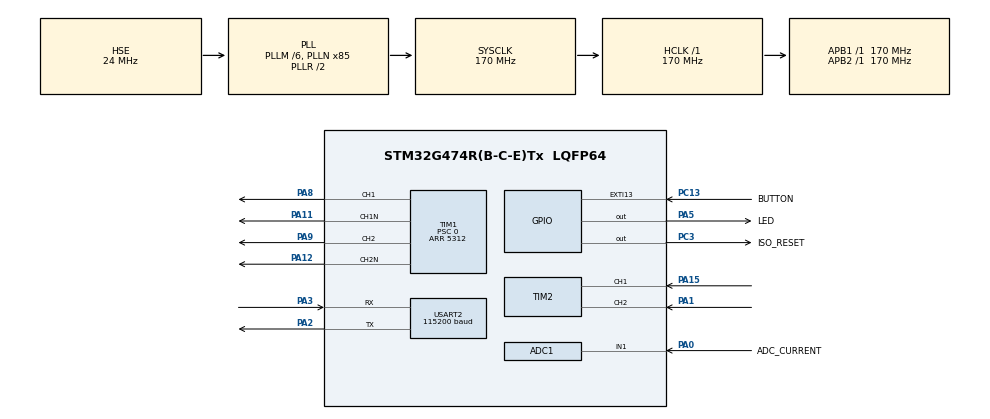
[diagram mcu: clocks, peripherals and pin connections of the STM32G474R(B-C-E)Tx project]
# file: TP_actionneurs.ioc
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ADC1.Channel-0\#ChannelRegularConversion=ADC_CHANNEL_1
ADC1.ClockPrescaler=ADC_CLOCK_SYNC_PCLK_DIV4
ADC1.NbrOfConversionFlag=1
ADC1.OffsetNumber-0\#ChannelRegularConversion=ADC_OFFSET_NONE
ADC1.OversamplingMode=DISABLE
ADC1.Rank-0\#ChannelRegularConversion=1
ADC1.SamplingTime-0\#ChannelRegularConversion=ADC_SAMPLETIME_2CYCLES_5
ADC1.master=1
Mcu.Family=STM32G4
Mcu.Name=STM32G474R(B-C-E)Tx
Mcu.Package=LQFP64
NVIC.EXTI15_10_IRQn=true\:0\:0\:false\:false\:true\:true\:true\:true
NVIC.PriorityGroup=NVIC_PRIORITYGROUP_4
NVIC.TIM2_IRQn=true\:0\:0\:false\:false\:true\:true\:true\:true
NVIC.TIM6_DAC_IRQn=true\:15\:0\:false\:false\:true\:false\:true\:true
NVIC.TimeBase=TIM6_DAC_IRQn
NVIC.TimeBaseIP=TIM6
NVIC.USART2_IRQn=true\:0\:0\:false\:false\:true\:true\:true\:true
PA0.GPIO_Label=ADC_CURRENT
PA0.Mode=IN1-Single-Ended
PA0.Signal=ADC1_IN1
PA1.Signal=S_TIM2_CH2
PA11.Mode=PWM Generation1 CH1 CH1N
PA11.Signal=TIM1_CH1N
PA12.Mode=PWM Generation2 CH2 CH2N
PA12.Signal=TIM1_CH2N
PA13.Mode=Serial_Wire
PA13.Signal=SYS_JTMS-SWDIO
PA14.Mode=Serial_Wire
PA14.Signal=SYS_JTCK-SWCLK
PA15.Signal=S_TIM2_CH1
PA2.Mode=Asynchronous
PA2.Signal=USART2_TX
PA3.Mode=Asynchronous
PA3.Signal=USART2_RX
PA5.GPIO_Label=LED
PA5.Signal=GPIO_Output
PA8.Signal=S_TIM1_CH1
PA9.Signal=S_TIM1_CH2
PC13.GPIO_Label=BUTTON
PC13.Signal=GPXTI13
PC14-OSC32_IN.Mode=LSE-External-Oscillator
PC14-OSC32_IN.Signal=RCC_OSC32_IN
PC15-OSC32_OUT.Mode=LSE-External-Oscillator
PC15-OSC32_OUT.Signal=RCC_OSC32_OUT
PC3.GPIO_Label=ISO_RESET
PC3.Signal=GPIO_Output
PF0-OSC_IN.Mode=HSE-External-Oscillator
PF0-OSC_IN.Signal=RCC_OSC_IN
PF1-OSC_OUT.Mode=HSE-External-Oscillator
PF1-OSC_OUT.Signal=RCC_OSC_OUT
ProjectManager.HeapSize=0x200
ProjectManager.StackSize=0x400
ProjectManager.TargetToolchain=STM32CubeIDE
RCC.ADC12Freq_Value=170000000
RCC.ADC345Freq_Value=170000000
RCC.AHBFreq_Value=170000000
RCC.APB1Freq_Value=170000000
RCC.APB1TimFreq_Value=170000000
RCC.APB2Freq_Value=170000000
RCC.APB2TimFreq_Value=170000000
RCC.CortexFreq_Value=170000000
RCC.EXTERNAL_CLOCK_VALUE=12288000
RCC.HCLKFreq_Value=170000000
RCC.HSE_VALUE=24000000
RCC.HSI48_VALUE=48000000
RCC.HSI_VALUE=16000000
RCC.PLLM=RCC_PLLM_DIV6
RCC.PLLN=85
RCC.PLLSourceVirtual=RCC_PLLSOURCE_HSE
RCC.RTCClockSelection=RCC_RTCCLKSOURCE_LSE
RCC.SYSCLKFreq_VALUE=170000000
RCC.SYSCLKSource=RCC_SYSCLKSOURCE_PLLCLK
RCC.USBFreq_Value=170000000
RCC.VCOOutputFreq_Value=340000000
SH.S_TIM1_CH1.0=TIM1_CH1,PWM Generation1 CH1 CH1N
SH.S_TIM1_CH2.0=TIM1_CH2,PWM Generation2 CH2 CH2N
SH.S_TIM2_CH1.0=TIM2_CH1,Input_Capture1_from_TI1
SH.S_TIM2_CH2.0=TIM2_CH2,Input_Capture2_from_TI2
TIM1.AutoReloadPreload=TIM_AUTORELOAD_PRELOAD_ENABLE
TIM1.Channel-PWM\ Generation1\ CH1\ CH1N=TIM_CHANNEL_1
TIM1.Channel-PWM\ Generation2\ CH2\ CH2N=TIM_CHANNEL_2
TIM1.CounterMode=TIM_COUNTERMODE_CENTERALIGNED1
TIM1.DeadTime=222
TIM1.DeadTimePreload=DISABLE
TIM1.PeriodNoDither=5312
TIM1.Prescaler=0
TIM1.PulseNoDither_1=2656
TIM1.PulseNoDither_2=2656
TIM2.Channel-Input_Capture1_from_TI1=TIM_CHANNEL_1
TIM2.Channel-Input_Capture2_from_TI2=TIM_CHANNEL_2
USART2.BaudRate=115200
USART2.VirtualMode-Asynchronous=VM_ASYNC
VP_SYS_VS_tim6.Mode=TIM6
VP_TIM1_VS_ClockSourceINT.Mode=Internal
VP_TIM2_VS_ClockSourceINT.Mode=Internal
board=NUCLEO-G474RE

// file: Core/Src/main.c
/* USER CODE BEGIN Header */
/**
 ******************************************************************************
 * @file           : main.c
 * @brief          : Main program body
 ******************************************************************************
 * @attention
 *
 * Copyright (c) 2022 STMicroelectronics.
 * All rights reserved.
 *
 * This software is licensed under terms that can be found in the LICENSE file
 * in the root directory of this software component.
 * If no LICENSE file comes with this software, it is provided AS-IS.
 *
 ******************************************************************************
 */
/* USER CODE END Header */
#include "main.h"
#include "adc.h"
#include "tim.h"
#include "usart.h"
#include "gpio.h"

/* USER CODE BEGIN Includes */
#include <string.h>
#include <stdio.h>
#include <stdlib.h>
/* USER CODE END Includes */

/* USER CODE BEGIN PD */
#define UART_TX_BUFFER_SIZE 64				///< Buffer size for transmission used in the shell communication
#define UART_RX_BUFFER_SIZE 1				///< Buffer size for reception used in the shell communication
#define CMD_BUFFER_SIZE 64					///< Buffer size for the shell command line
#define MAX_ARGS 9							///< Maximum number of arguments for a command in the shell script

#define ASCII_CR 0x0D						///< Defines CR, carriage return command in the shell
#define ASCII_DEL 0x7F						///< Defines DEL, delete command in the shell

#define SPEED_MAX 512 						///< Arbitrary number representing out maximum value for the motor speed

#define TIMCLOCK   170000000				///< Definition of bus frequency for clock, useful to calculate time
#define PRESCALAR  1						///< Definition of prescaler clock, useful to calculate time
/* USER CODE END PD */

/* USER CODE BEGIN PV */
const uint8_t prompt[]="user@Nucleo-STM32G431>>";		///< Shell prompt text
const uint8_t started[]=								///< Startup message when shell is initialized
		"\r\n*-----------------------------*"
		"\r\n| Welcome on Nucleo-STM32G431 |"
		"\r\n*-----------------------------*"
		"\r\n";
const uint8_t newLine[]="\r\n";							///< Defines characters used to create a new line
const uint8_t cmdNotFound[]="Command not found\r\n";	///< Shell message for when a user input command is not implemented
const uint8_t help[]=									///< Shell message for when the user types "help"
		"\r\n*-----------------------------*"
		"\r\n| Help Menu |"
		"\r\n*-----------------------------*"
		"\r\n*set PA5 1 : Turns ON the LED*"
		"\r\n*set PA5 0 : Turns OFF the LED*"
		"\r\n*get : Prints the current and the frequency in the motor*"
		"\r\n*pinout : Prints the pinout list*"
		"\r\n*start : Starts the motor*"
		"\r\n*speed x : Sets the speed of the motor to x (-512 < x < 512)*"
		"\r\n";

const uint8_t pinout[]=									///< Shell message that lists the pinout list of the microcontroller
		"\r\n*-----------------------------*"
		"\r\n| Pinout List |"
		"\r\n*-----------------------------*"
		"\r\n*PA0: ADC_CURRENT*"
		"\r\n*PA5: LED*"
		"\r\n*PA8: TIM1_CH1*"
		"\r\n*PA9: TIM1_CH2*"
		"\r\n*PA11: TIM1_CH1N*"
		"\r\n*PA12: TIM1_CH2N*"
		"\r\n*PC3: ISO_RESET*"
		"\r\n";
const uint8_t powerOn[]=								///< Shell message when powering on the motor
		"\r\n*-----------------------------*"
		"\r\n| Motor ON |"
		"\r\n";
const uint8_t powerOff[]=								///< Shell message when powering off the motor
		"\r\n*-----------------------------*"
		"\r\n| Motor OFF |"
		"\r\n";

const char * separators = " =";							///< List of separators used to parse the strings in shell

uint32_t uartRxReceived;								///< Set to 1 when a new character is received on uart 2
uint8_t uartRxBuffer[UART_RX_BUFFER_SIZE];				///< A buffer to store the received data from UART
uint8_t uartTxBuffer[UART_TX_BUFFER_SIZE];				///< A buffer to store the UART data to be transmitted

uint32_t IC_Val1 = 0;									///< First timer value
uint32_t IC_Val2 = 0;									///< Second timer value
uint32_t Difference = 0;								///< Difference of the two timer values, to be able to know the direction of the rotation

int Is_First_Captured = 0;								///< Set to 1 when the first rising edge is captured
int Is_First_Captured_2 = 0;							///< Set to 1 when the first rising edge is captured (version 2)

/* Measure Frequency */
float frequency = 0;									///< Declaration of variable to hold the frequency value

/* USER CODE END PV */

void SystemClock_Config(void);
/* USER CODE BEGIN PFP */
void HAL_TIM_IC_CaptureCallback(TIM_HandleTypeDef *htim);
/* USER CODE END PFP */

int main(void)
{
  /* USER CODE BEGIN 1 */
	char	 	cmd[CMD_BUFFER_SIZE];		///< Initializes a cmd list to store the characters sent via shell
	int 		idxCmd;						///< Initializes an index used to parse through the shell characters
	char* 		argv[MAX_ARGS];				///< Initializes a variable to hold the arguments of a function
	int		 	argc = 0;					///< Initializes a variable to hold the argc value
	char*		token;						///< Initializes a variable to hold the tokens from strtok function
	int 		newCmdReady = 0;			///< Initializes a variable to verify if shell has finished user input
	int		speed = 0;						///< Initializes a variable to hold the speed value
	uint16_t  CCR1 = 5312;					///< Initializes a variable to hold the value in the compare register channel 1
	uint16_t  CCR2 = 5312;					///< Initializes a variable to hold the value in the compare register channel 2

	uint16_t AD_RES = 0;					///< Initializes a variable to hold the value form the ADC conversion for the current

  /* USER CODE END 1 */

  /* MCU Configuration--------------------------------------------------------*/

  /* Reset of all peripherals, Initializes the Flash interface and the Systick. */
  HAL_Init();

  /* Configure the system clock */
  SystemClock_Config();

  /* Initialize all configured peripherals */
  MX_GPIO_Init();
  MX_TIM1_Init();
  MX_USART2_UART_Init();
  MX_ADC1_Init();
  MX_TIM2_Init();
  /* USER CODE BEGIN 2 */
	HAL_TIM_PWM_Start(&htim1, TIM_CHANNEL_1);
	HAL_TIM_PWM_Start(&htim1, TIM_CHANNEL_2);
	HAL_TIMEx_PWMN_Start(&htim1, TIM_CHANNEL_1);
	HAL_TIMEx_PWMN_Start(&htim1, TIM_CHANNEL_2);

	HAL_TIM_IC_Start_IT(&htim2, TIM_CHANNEL_1);
	HAL_TIM_IC_Start_IT(&htim2, TIM_CHANNEL_2);

	memset(argv,NULL,MAX_ARGS*sizeof(char*));
	memset(cmd,NULL,CMD_BUFFER_SIZE*sizeof(char));
	memset(uartRxBuffer,NULL,UART_RX_BUFFER_SIZE*sizeof(char));
	memset(uartTxBuffer,NULL,UART_TX_BUFFER_SIZE*sizeof(char));

	HAL_UART_Receive_IT(&huart2, uartRxBuffer, UART_RX_BUFFER_SIZE);
	HAL_Delay(10);
	HAL_UART_Transmit(&huart2, started, sizeof(started), HAL_MAX_DELAY);
	HAL_UART_Transmit(&huart2, prompt, sizeof(prompt), HAL_MAX_DELAY);
  /* USER CODE END 2 */

  /* Infinite loop */
  /* USER CODE BEGIN WHILE */
	while (1)
	{
		// uartRxReceived is set to 1 when a new character is received on uart 2
		if(uartRxReceived){
			switch(uartRxBuffer[0]){
			// Nouvelle ligne, instruction à traiter
			case ASCII_CR:
				HAL_UART_Transmit(&huart2, newLine, sizeof(newLine), HAL_MAX_DELAY);
				cmd[idxCmd] = '\0';
				argc = 0;
				token = strtok(cmd, separators);
				while(token!=NULL){
					argv[argc++] = token;
					token = strtok(NULL, " ");
				}

				idxCmd = 0;
				newCmdReady = 1;
				break;
				// Suppression du dernier caractère
			case ASCII_DEL:
				cmd[idxCmd--] = '\0';
				HAL_UART_Transmit(&huart2, uartRxBuffer, UART_RX_BUFFER_SIZE, HAL_MAX_DELAY);
				break;
				// Nouveau caractère
			default:
				cmd[idxCmd++] = uartRxBuffer[0];
				HAL_UART_Transmit(&huart2, uartRxBuffer, UART_RX_BUFFER_SIZE, HAL_MAX_DELAY);
			}
			uartRxReceived = 0;
		}

		if(newCmdReady){
			// Traiter l'instruction correspondante
			if(strcmp(argv[0],"set")==0){
				if(strcmp(argv[1],"PA5")==0){
					HAL_GPIO_WritePin(LED_GPIO_Port, LED_Pin, atoi(argv[2]));
					sprintf(uartTxBuffer,"Switch on/off led : %d\r\n",atoi(argv[2]));
					HAL_UART_Transmit(&huart2, uartTxBuffer, 32, HAL_MAX_DELAY);
				}
				else{
					HAL_UART_Transmit(&huart2, cmdNotFound, sizeof(cmdNotFound), HAL_MAX_DELAY);
				}
			}
			else if(strcmp(argv[0],"get")==0)
			{
				// Read The ADC Conversion Result & Map It To PWM DutyCycle
				AD_RES = ((3300*HAL_ADC_GetValue(&hadc1)/4096)-2500)*12;
				sprintf(uartTxBuffer,"ADC = %d | Freq = %d \r\n",AD_RES,(int) frequency);
				HAL_UART_Transmit(&huart2, uartTxBuffer, sizeof(uartTxBuffer), HAL_MAX_DELAY);

			}
			else if(strcmp(argv[0],"help")==0)
			{
				HAL_UART_Transmit(&huart2, help, sizeof(help), HAL_MAX_DELAY);
			}
			else if(strcmp(argv[0],"pinout")==0)
			{
				HAL_UART_Transmit(&huart2, pinout, sizeof(pinout), HAL_MAX_DELAY);
			}
			else if(strcmp(argv[0],"start")==0)
			{
				powerUpSequence();
				HAL_UART_Transmit(&huart2, powerOn, sizeof(powerOn), HAL_MAX_DELAY);
			}
			else if(strcmp(argv[0],"stop")==0)
			{
				HAL_UART_Transmit(&huart2, powerOff, sizeof(powerOff), HAL_MAX_DELAY);
			}
			else if(strcmp(argv[0],"speed")==0){
				speed = atoi(argv[1]);
				if (speed > SPEED_MAX)	speed = SPEED_MAX;
				CCR1=5312*(SPEED_MAX+speed)/(2*SPEED_MAX);
				CCR2=5312-CCR1;
				__HAL_TIM_SET_COMPARE(&htim1,TIM_CHANNEL_1,CCR1);
				__HAL_TIM_SET_COMPARE(&htim1,TIM_CHANNEL_2,CCR2);
				sprintf(uartTxBuffer,"Speed set to : %d | CCR1 = %d | CCR2= %d \r\n",speed,CCR1,CCR2);
				HAL_UART_Transmit(&huart2, uartTxBuffer, sizeof(uartTxBuffer), HAL_MAX_DELAY);
			}
			else{
				HAL_UART_Transmit(&huart2, cmdNotFound, sizeof(cmdNotFound), HAL_MAX_DELAY);
			}
			HAL_UART_Transmit(&huart2, prompt, sizeof(prompt), HAL_MAX_DELAY);
			newCmdReady = 0;
		}

		/*
		if ((Is_First_Captured-Is_First_Captured_2)==1){

		}
		if (Is_First_Captured!=0 || Is_First_Captured_2!=0){
			if
		}
		*/

		// Start ADC Conversion
		HAL_ADC_Start(&hadc1);
		// Poll ADC1 Perihperal & TimeOut = 1mSec
		HAL_ADC_PollForConversion(&hadc1, 100);
    /* USER CODE END WHILE */

	}
}

void SystemClock_Config(void)
{
  RCC_OscInitTypeDef RCC_OscInitStruct = {0};
  RCC_ClkInitTypeDef RCC_ClkInitStruct = {0};

  /** Configure the main internal regulator output voltage
  */
  HAL_PWREx_ControlVoltageScaling(PWR_REGULATOR_VOLTAGE_SCALE1_BOOST);

  /** Initializes the RCC Oscillators according to the specified parameters
  * in the RCC_OscInitTypeDef structure.
  */
  RCC_OscInitStruct.OscillatorType = RCC_OSCILLATORTYPE_HSE;
  RCC_OscInitStruct.HSEState = RCC_HSE_ON;
  RCC_OscInitStruct.PLL.PLLState = RCC_PLL_ON;
  RCC_OscInitStruct.PLL.PLLSource = RCC_PLLSOURCE_HSE;
  RCC_OscInitStruct.PLL.PLLM = RCC_PLLM_DIV6;
  RCC_OscInitStruct.PLL.PLLN = 85;
  RCC_OscInitStruct.PLL.PLLP = RCC_PLLP_DIV2;
  RCC_OscInitStruct.PLL.PLLQ = RCC_PLLQ_DIV2;
  RCC_OscInitStruct.PLL.PLLR = RCC_PLLR_DIV2;
  if (HAL_RCC_OscConfig(&RCC_OscInitStruct) != HAL_OK)
  {
    Error_Handler();
  }

  /** Initializes the CPU, AHB and APB buses clocks
  */
  RCC_ClkInitStruct.ClockType = RCC_CLOCKTYPE_HCLK|RCC_CLOCKTYPE_SYSCLK
                              |RCC_CLOCKTYPE_PCLK1|RCC_CLOCKTYPE_PCLK2;
  RCC_ClkInitStruct.SYSCLKSource = RCC_SYSCLKSOURCE_PLLCLK;
  RCC_ClkInitStruct.AHBCLKDivider = RCC_SYSCLK_DIV1;
  RCC_ClkInitStruct.APB1CLKDivider = RCC_HCLK_DIV1;
  RCC_ClkInitStruct.APB2CLKDivider = RCC_HCLK_DIV1;

  if (HAL_RCC_ClockConfig(&RCC_ClkInitStruct, FLASH_LATENCY_4) != HAL_OK)
  {
    Error_Handler();
  }
}

/* USER CODE BEGIN 4 */
void HAL_UART_RxCpltCallback (UART_HandleTypeDef * huart){
	uartRxReceived = 1;
	HAL_UART_Receive_IT(&huart2, uartRxBuffer, UART_RX_BUFFER_SIZE);
}

/**
 * Sends the required sequence to power up the motor
 * @param[in]  None
 * @param[out] None
 */
void powerUpSequence (void){
	HAL_GPIO_WritePin(ISO_RESET_GPIO_Port, ISO_RESET_Pin, GPIO_PIN_SET);
	HAL_Delay(1);
	HAL_GPIO_WritePin(ISO_RESET_GPIO_Port, ISO_RESET_Pin, GPIO_PIN_RESET);
}

/*
void HAL_TIM_IC_CaptureCallback(TIM_HandleTypeDef *htim) {
	if (htim->Instance == TIM2) {
		uint32_t cl = HAL_TIM_ReadCapturedValue(htim, TIM_CHANNEL_1);
		uint32_t ch = HAL_TIM_ReadCapturedValue(htim, TIM_CHANNEL_2);

		frequency = (float) TIMCLOCK / (cl + 1);
	}
}
*/

void HAL_TIM_IC_CaptureCallback(TIM_HandleTypeDef *htim)
{
	if (htim->Channel == HAL_TIM_ACTIVE_CHANNEL_1)
	{
		if (Is_First_Captured==0) // if the first rising edge is not captured
		{
			IC_Val1 = HAL_TIM_ReadCapturedValue(htim, TIM_CHANNEL_1); // read the first value
			Is_First_Captured = 1;  // set the first captured as true
		}

		else   // If the first rising edge is captured, now we will capture the second edge
		{
			IC_Val2 = HAL_TIM_ReadCapturedValue(htim, TIM_CHANNEL_1);  // read second value

			if (IC_Val2 > IC_Val1)
			{
				Difference = IC_Val2-IC_Val1;
			}

			else if (IC_Val1 > IC_Val2)
			{
				Difference = (0xffffffff - IC_Val1) + IC_Val2;
			}

			float refClock = TIMCLOCK/(PRESCALAR);

			frequency = refClock/Difference;

			__HAL_TIM_SET_COUNTER(htim, 0);  // reset the counter
			Is_First_Captured = 0; // set it back to false
		}
	}
	else if (htim->Channel == HAL_TIM_ACTIVE_CHANNEL_2)
	{
			if (Is_First_Captured_2==0) // if the first rising edge is not captured
			{
				Is_First_Captured_2 = 1;  // set the first captured as true
			}

			else   // If the first rising edge is captured, now we will capture the second edge
			{
				Is_First_Captured_2 = 0; // set it back to false
			}
		}
}
/* USER CODE END 4 */

void HAL_TIM_PeriodElapsedCallback(TIM_HandleTypeDef *htim)
{
  if (htim->Instance == TIM6) {
    HAL_IncTick();
  }
}

void Error_Handler(void)
{
	__disable_irq();
	while (1)
	{
	}
}
